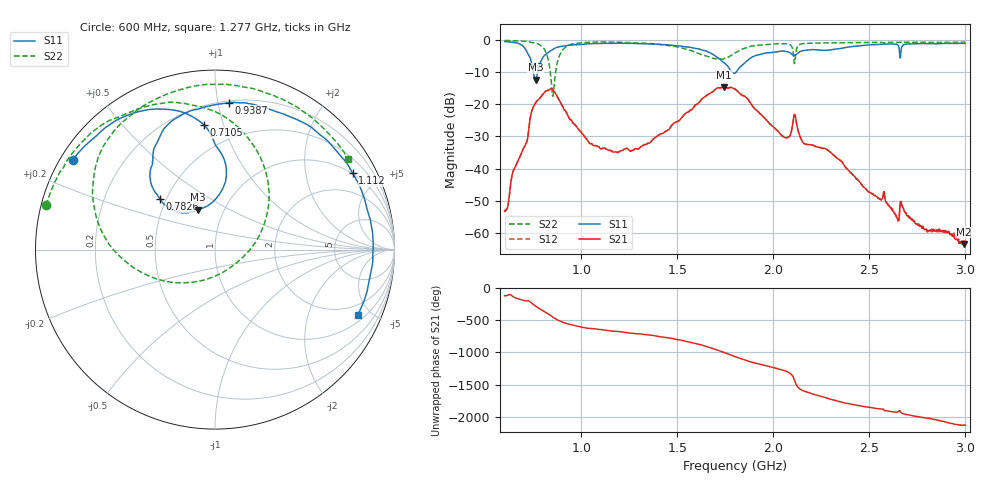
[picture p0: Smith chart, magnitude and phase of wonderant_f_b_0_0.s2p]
#  HZ  S  RI  R  50.00
! Rohde & Schwarz ZVB8 2Ports - Version 2.81 - 1145.1010k08 SN: 100113
! Date: 2016-05-17 22:37:25
! Measurements: S11 S21 S12 S22
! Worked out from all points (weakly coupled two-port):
!   1000 points, 600 MHz to 3 GHz, reference 50 ohm
!   highest |S21| = -14.70 dB at 1.744 GHz (marker M1); lowest = -63.3 dB at 2.993 GHz (marker M2)
!   lowest |S11| = -12.4 dB at 761 MHz (marker M3), VSWR 1.63, Z = 37.9 + j17.8 ohm
!   |S11| at or under -10 dB: 749 MHz to 771.8 MHz (22.76 MHz wide, 2.99 % of centre); 1.783 GHz to 1.807 GHz (23.25 MHz wide, 1.3 % of centre)
!   |S22| runs from -17.5 to -0.2 dB; largest |S21 - S12| = 0.0016
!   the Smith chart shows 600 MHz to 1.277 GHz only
!   S11 on the Smith chart (normalised r, x): 600 MHz: 0.03, +0.29; 710.5 MHz: 0.32, +0.86; 782.6 MHz: 0.46, +0.32; 938.7 MHz: 0.21, +1.08; 1.112 GHz: 0.99, +3.62; 1.277 GHz: 1.34, -4.15
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6e8  -0.7923 0.5016  -0.00101 -0.00195  -0.00102 -0.00199  -0.9411 0.2468
7.105105e8  -0.0606 0.6941  -0.0231 0.00738  -0.0232 0.00691  -0.6556 0.6767
7.60961e8  -0.0933 0.2217  0.0137 0.103  0.0136 0.1025  -0.3627 0.8035
7.825826e8  -0.3073 0.2833  0.0935 0.0809  0.0929 0.0812  -0.1717 0.8147
8.306306e8  -0.344 0.5417  0.1136 -0.121  0.1134 -0.1214  0.3015 0.321
8.618619e8  -0.2733 0.6854  -0.0523 -0.1435  -0.0521 -0.1436  -0.176 -0.1854
9.387387e8  0.0796 0.8191  -0.055 0.0222  -0.055 0.0219  -0.6436 0.5304
1.001201e9  0.3692 0.7597  -0.0145 0.0328  -0.0146 0.0327  -0.3835 0.8103
1.111712e9  0.7669 0.4248  0.00628 0.0198  0.00622 0.0198  0.1226 0.9134
1.277477e9  0.7941 -0.3656  0.0195 0.00576  0.0195 0.00584  0.7419 0.5032
1.4e9  0.3524 -0.774  0.0288 -0.0161  0.0289 -0.016  0.8409 -0.0948
1.611411e9  -0.5728 -0.4359  -0.093 -0.0487  -0.0929 -0.049  0.0996 -0.602
1.743544e9  -0.4308 0.0818  0.0382 0.1801  0.0379 0.1803  -0.1042 -0.5
1.801201e9  -0.3045 0.0121  0.1659 0.0408  0.1657 0.0415  -0.2275 -0.5825
1.909309e9  -0.4996 0.2744  0.0038 -0.0821  0.00418 -0.082  -0.7122 -0.3996
2.036637e9  0.0278 0.6635  -0.0342 0.003  -0.0342 0.00296  -0.8386 0.2171
2.111111e9  0.3567 0.4512  0.0692 -0.00557  0.0689 -0.00558  -0.3923 0.178
2.2e9  0.6938 0.1085  -0.0216 0.0089  -0.0216 0.0088  -0.533 0.7058
2.413814e9  0.2124 -0.7556  0.00785 -0.00157  0.00788 -0.00155  0.2807 0.8585
2.601201e9  -0.5914 -0.6207  -0.00114 -0.0024  -0.00113 -0.00249  0.802 0.4269
2.992793e9  -0.6709 0.5645  0.000607 0.000317  0.000606 0.00028  0.5566 -0.7254
3e9  -0.6545 0.5822  0.000612 0.000321  0.000717 0.000274  0.5415 -0.7372
